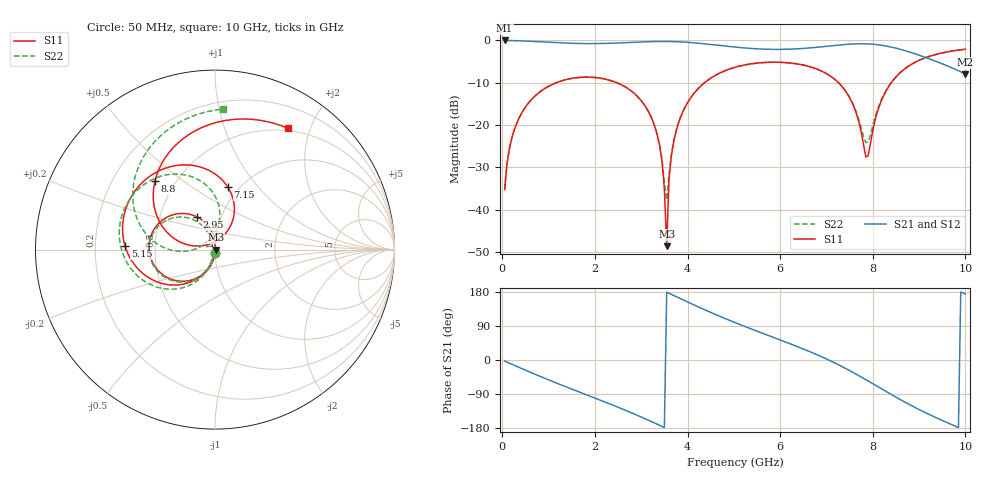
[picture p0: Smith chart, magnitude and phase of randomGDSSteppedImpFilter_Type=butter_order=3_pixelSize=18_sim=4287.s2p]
! freq	dB(S11)	phase(S11)	dB(S12)	phase(S12)
!  dB(S21)	phase(S21)	dB(S22)	phase(S22)
!S-par simulation data
#  GHz  S  DB  R 50
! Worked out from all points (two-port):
!   200 points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, 50 MHz to 10 GHz, reference 50 ohm
!   highest |S21| = 0.00 dB at 50 MHz (marker M1); lowest = -8.0 dB at 10 GHz (marker M2)
!   |S21| within 3 dB of the highest: start of sweep to 8.869 GHz
!   lowest |S11| = -48.7 dB at 3.55 GHz (marker M3), VSWR 1.01, Z = 50.4 + j0.0479 ohm
!   |S11| at or under -10 dB: start of sweep to 1.165 GHz; 2.473 GHz to 4.369 GHz (1.895 GHz wide, 55.4 % of centre); 7.259 GHz to 8.401 GHz (1.142 GHz wide, 14.6 % of centre)
!   |S22| runs from -37.8 to -2.1 dB; largest |S21 - S12| = 0
!   S11 on the Smith chart (normalised r, x): 50 MHz: 1.00, -0.03; 2.95 GHz: 0.77, +0.29; 5.15 GHz: 0.33, +0.02; 7.15 GHz: 0.88, +0.71; 8.8 GHz: 0.38, +0.40; 10 GHz: 0.47, +1.67
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0.05  -35.28 -92.7  -0.00 -2.8  -0.00 -2.8  -35.28 -92.6
0.2  -23.34 -101.4  -0.04 -10.9  -0.04 -10.9  -23.34 -101.0
0.5  -15.77 -117.8  -0.15 -26.9  -0.15 -26.9  -15.77 -117.0
1.75  -8.69 179.3  -0.74 -88.5  -0.74 -88.5  -8.69 -177.4
2.95  -13.62 119.0  -0.38 -147.8  -0.38 -147.8  -13.62 126.4
3.4  -25.03 93.5  -0.24 -172.6  -0.24 -172.6  -24.92 111.1
3.5  -35.27 86.5  -0.24 -178.2  -0.24 -178.2  -33.70 130.4
3.55  -48.67 7.4  -0.24 178.9  -0.24 178.9  -37.76 -166.9
3.6  -32.93 -96.3  -0.25 176.0  -0.25 176.0  -31.71 -119.5
3.65  -27.39 -99.8  -0.26 173.2  -0.26 173.2  -26.97 -110.0
3.85  -18.16 -111.9  -0.35 161.7  -0.35 161.7  -18.08 -111.2
4.3  -10.65 -137.7  -0.73 136.4  -0.73 136.4  -10.62 -132.6
5.05  -6.28 -177.2  -1.61 97.5  -1.61 97.5  -6.27 -168.8
5.15  -6.00 177.9  -1.71 92.7  -1.71 92.7  -5.99 -173.4
6.7  -6.41 102.9  -1.71 18.9  -1.71 18.9  -6.41 118.4
7.15  -8.95 78.6  -1.22 -6.0  -1.22 -6.0  -8.94 97.1
7.6  -15.90 56.8  -0.83 -34.6  -0.83 -34.6  -15.68 81.6
7.85  -27.57 95.1  -0.81 -51.9  -0.81 -51.9  -24.21 122.2
8.35  -10.81 159.8  -1.45 -87.6  -1.45 -87.6  -10.68 177.2
8.8  -5.88 131.2  -2.76 -118.1  -2.76 -118.1  -5.88 152.7
9.45  -3.07 91.1  -5.31 -156.9  -5.31 -156.9  -3.10 116.4
10  -2.06 59.1  -7.96 174.2  -7.96 174.2  -2.11 86.7
